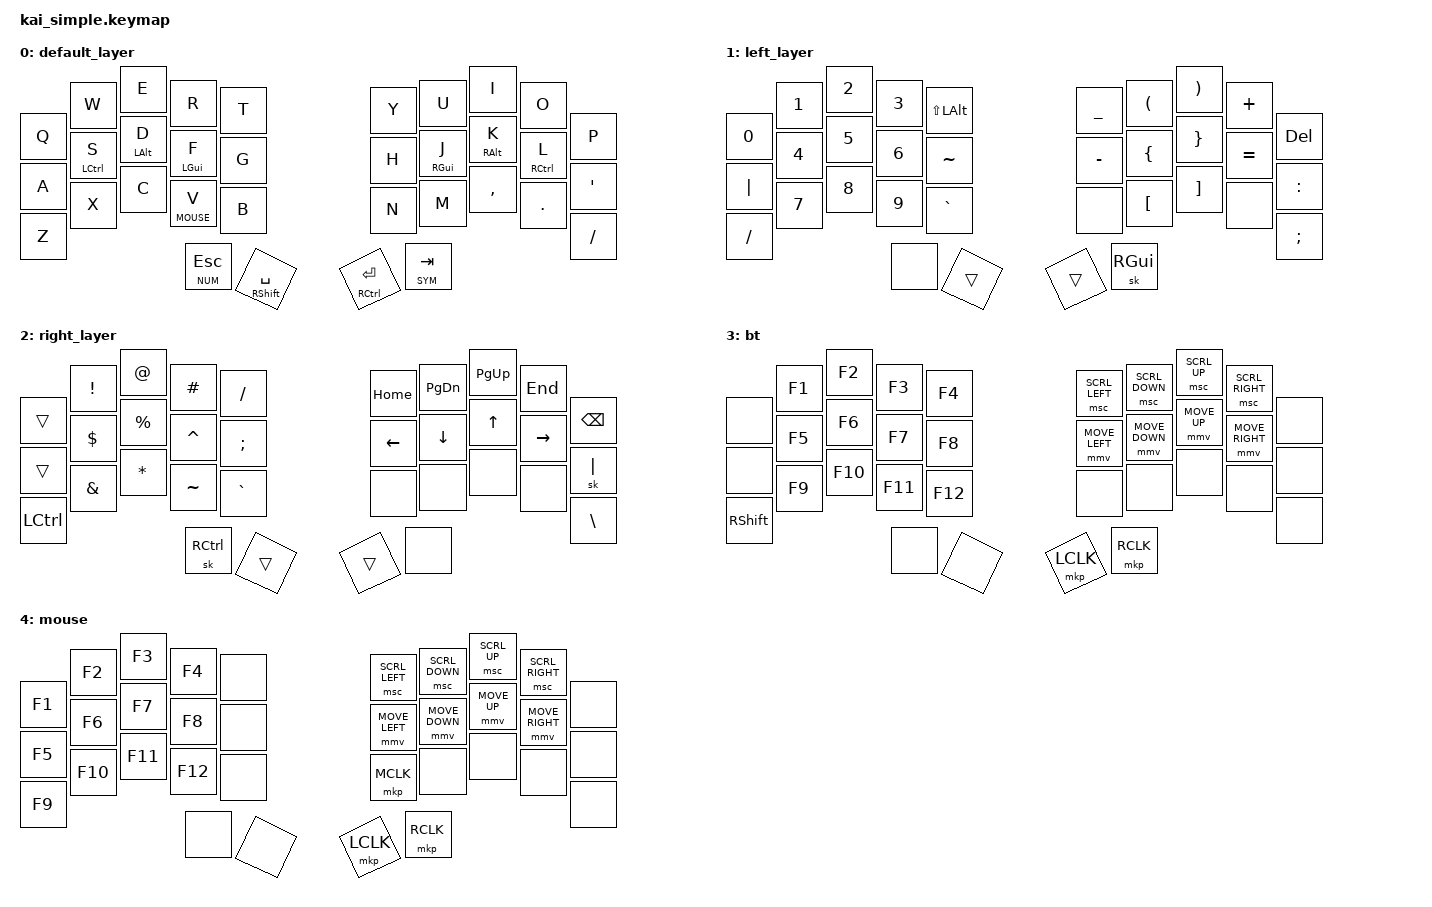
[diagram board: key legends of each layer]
// Copyright (c) 2022 The ZMK Contributors
// SPDX-License-Identifier: MIT

#include <dt-bindings/zmk/mouse.h>
#include <behaviors.dtsi>
#include <dt-bindings/zmk/bt.h>
#include <dt-bindings/zmk/keys.h>
#include <dt-bindings/zmk/pointing.h>

#define TAPPING_TIME 25

#define ZMK_POINTING_DEFAULT_MOVE_VAL 1500  // default: 600
#define ZMK_POINTING_DEFAULT_SCRL_VAL 20    // default: 10

#define BASE 0
#define NUM 1
#define SYM 2
#define BTT 3
#define MOUSE 4


&mt {
    flavor = "tap-preferred";
    tapping_term_ms = <200>;
};

&sl {
    release-after-ms = <2000>;
};

&lt {
    tapping-term-ms = <200>;
};

/ {
    behaviors {
        ht: hold_tap {
            label = "hold_tap";
            compatible = "zmk,behavior-hold-tap";
            #binding-cells = <2>;
            flavor = "tap-preferred";
            tapping-term-ms = <220>;
            quick-tap-ms = <150>;
            bindings = <&kp>, <&kp>;
        };
    };

    /*                KEY POSITIONS

        ╭────────────────────╮ ╭────────────────────╮
        │  0   1   2   3   4 │ │  5   6   7   8   9 │
        │ 10  11  12  13  14 │ │ 15  16  17  18  19 │
        │ 20  21  22  23  24 │ │ 25  26  27  28  29 │
        ╰───────────╮ 30  31 │ │ 32  33 ╭───────────╯
                    ╰────────╯ ╰────────╯            */
    combos {
        compatible = "zmk,combos";
        combo_mouse {
            timeout-ms = <50>;
            key-positions = <20 30>;
            bindings = <&mo BTT>;
        };
    };

    keymap {
        compatible = "zmk,keymap";

        default_layer {
            bindings = <
                &kp Q  &kp W       &kp E      &kp R           &kp T              &kp Y            &kp U                &kp I       &kp O       &kp P
                &kp A  &ht LCTL S  &ht LALT D &ht LGUI F      &kp G              &kp H            &ht RGUI J           &ht RALT K  &ht RCTL L  &kp SQT
                &kp Z  &kp X       &kp C      &lt MOUSE V     &kp B              &kp N            &kp M                &kp COMMA   &kp DOT     &kp FSLH
                                              &lt NUM ESC     &ht RSHFT SPACE    &ht RCTRL ENTER  &lt SYM TAB
            >;
        };

        // NUM
        left_layer {
            bindings = <
                &kp N0     &kp N1  &kp N2  &kp N3  &kp LS(LALT)  &kp UNDERSCORE &kp LPAR  &kp RPAR  &kp PLUS  &kp DEL
                &kp PIPE   &kp N4  &kp N5  &kp N6  &kp TILDE     &kp MINUS      &kp LBRC  &kp RBRC  &kp EQUAL &kp COLON
                &kp FSLH   &kp N7  &kp N8  &kp N9  &kp GRAVE     &none          &kp LBKT  &kp RBKT  &none     &kp SEMI
                                           &none   &trans        &trans         &sk RGUI
            >;
        };

        // SYM
        right_layer {
            bindings = <
                &trans      &kp EXCL    &kp AT       &kp HASH   &kp FSLH    &kp HOME  &kp PG_DN  &kp PG_UP  &kp END     &kp BKSP
                &trans      &kp DOLLAR  &kp PERCENT  &kp CARET  &kp SEMI    &kp LEFT  &kp DOWN   &kp UP     &kp RIGHT   &sk PIPE
                &kp LCTL    &kp AMPS    &kp STAR     &kp TILDE  &kp GRAVE   &none     &none      &none      &none       &kp BSLH
                                                     &sk RCTRL  &trans      &trans    &none
            >;
        };
        bt {
            bindings = <
                &none       &kp F1    &kp F2     &kp F3  &kp F4               &msc SCRL_LEFT &msc SCRL_DOWN &msc SCRL_UP &msc SCRL_RIGHT  &none 
                &none       &kp F5    &kp F6     &kp F7  &kp F8               &mmv MOVE_LEFT &mmv MOVE_DOWN &mmv MOVE_UP &mmv MOVE_RIGHT  &none 
                &kp RSHFT   &kp F9    &kp F10    &kp F11 &kp F12              &none          &none          &none        &none            &none 
                                                 &none   &none                &mkp LCLK &mkp RCLK
            >;
        };
        mouse {
            bindings = <
                &kp F1      &kp F2    &kp F3     &kp F4  &none               &msc SCRL_LEFT &msc SCRL_DOWN &msc SCRL_UP &msc SCRL_RIGHT  &none 
                &kp F5      &kp F6    &kp F7     &kp F8  &none               &mmv MOVE_LEFT &mmv MOVE_DOWN &mmv MOVE_UP &mmv MOVE_RIGHT  &none 
                &kp F9      &kp F10   &kp F11    &kp F12 &none               &mkp MCLK      &none          &none        &none            &none 
                                                 &none   &none               &mkp LCLK &mkp RCLK
            >;
        };
    };
};
